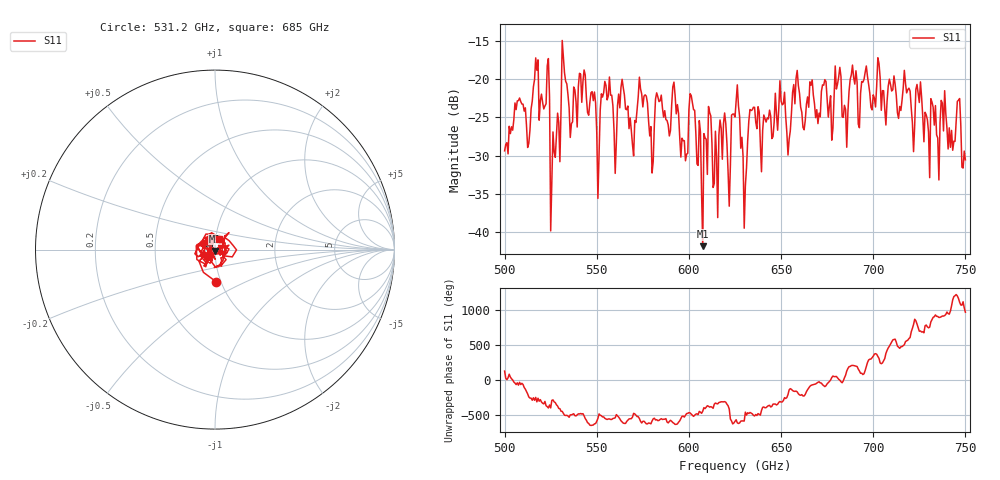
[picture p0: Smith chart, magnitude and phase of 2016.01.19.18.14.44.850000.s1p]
!Created with skrf (http://scikit-rf.org).
# GHz S RI R 50.0
!freq ReS11 ImS11
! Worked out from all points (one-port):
!   401 points, 500 GHz to 750 GHz, reference 50 ohm
!   lowest |S11| = -41.9 dB at 607.5 GHz (marker M1), VSWR 1.02, Z = 50.1 - j0.801 ohm
!   |S11| at or under -10 dB: start of sweep to end of sweep
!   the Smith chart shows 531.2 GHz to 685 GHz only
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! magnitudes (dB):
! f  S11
! 500 GHz  -29.4
! 506.9 GHz  -22.8
! 513.1 GHz  -28.4
! 516.9 GHz  -17.2
! 523.1 GHz  -18.2
! 526.2 GHz  -26.9
! 531.2 GHz  -14.9
! 542.5 GHz  -20.3
! 550.6 GHz  -35.6
! 553.8 GHz  -21.7
! 560 GHz  -32.3
! 562.5 GHz  -23.7
! 580 GHz  -32.3
! 583.1 GHz  -22.3
! 593.8 GHz  -23.3
! 598.1 GHz  -30.7
! 601.9 GHz  -23.1
! 607.5 GHz  -41.9
! 610.6 GHz  -23.6
! 621.9 GHz  -36.7
! 625 GHz  -24.9
! 630.6 GHz  -34.0
! 634.4 GHz  -24.0
! 656.2 GHz  -21.7
! 687.5 GHz  -20.0
! 718.8 GHz  -21.3
! 746.2 GHz  -22.7
! 750 GHz  -30.6
